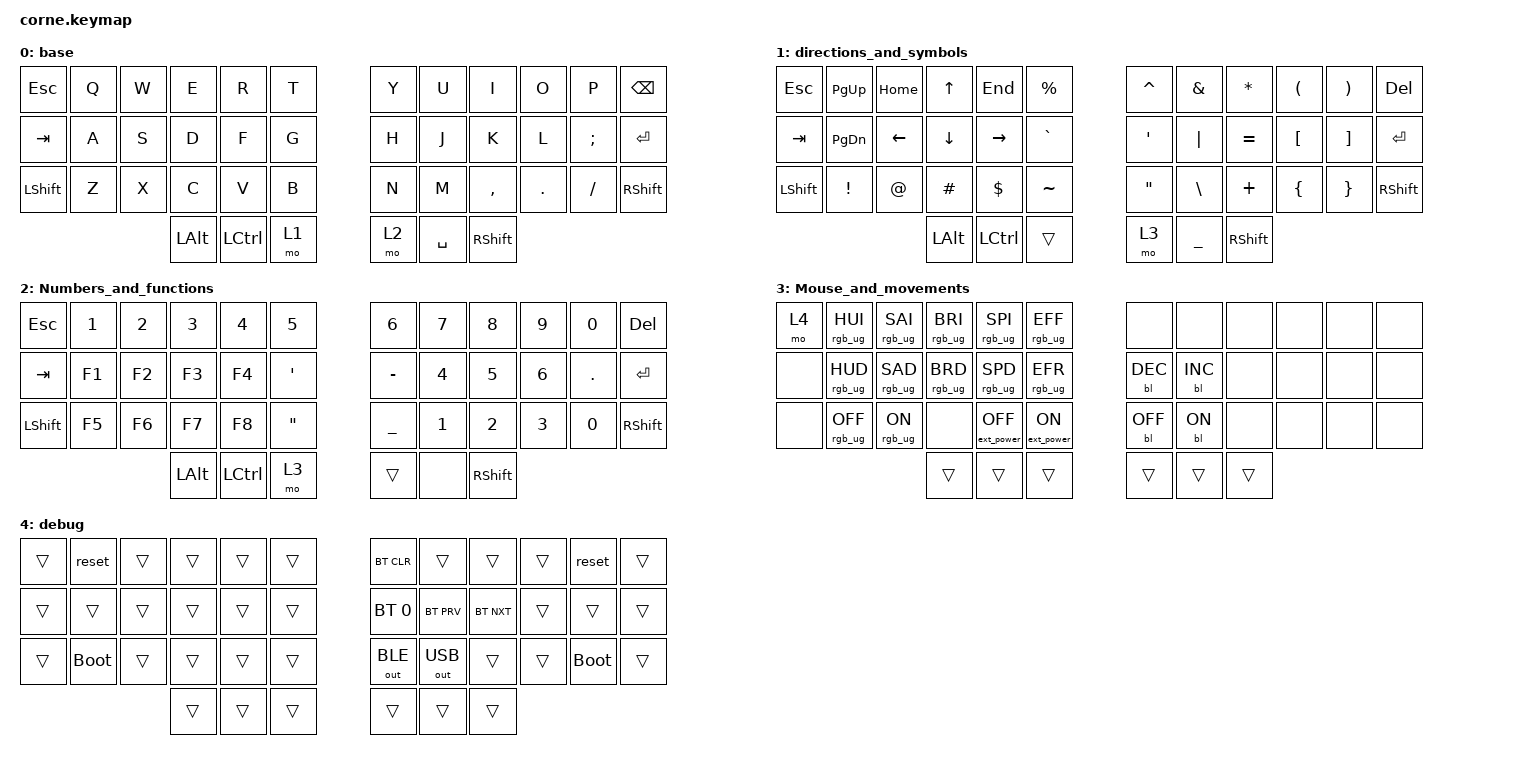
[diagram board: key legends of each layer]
/*
 * Copyright (c) 2020 The ZMK Contributors
 *
 * SPDX-License-Identifier: MIT
 */

#include <behaviors.dtsi>
#include <dt-bindings/zmk/keys.h>
#include <dt-bindings/zmk/rgb.h>
#include <dt-bindings/zmk/backlight.h>
#include <dt-bindings/zmk/ext_power.h>
#include <dt-bindings/zmk/bt.h>
#include <dt-bindings/zmk/outputs.h>

/ {
    behaviors {
        hm: homerow_mods {
            compatible = "zmk,behavior-hold-tap";
            label = "HOMEROW_MODS";
            #binding-cells = <2>;
            tapping-term-ms = <150>;
            quick-tap-ms = <0>;
            flavor = "tap-preferred";
            bindings =
                <&kp>,
                <&kp>;
        };
    };

    combos {
        compatible = "zmk,combos";

        tab {
            bindings = <&trans>;
            key-positions = <2 3>;
        };

        ctrl {
            bindings = <&kp LCTRL>;
            key-positions = <26 27>;
        };

        cmd {
            bindings = <&kp LCMD>;
            key-positions = <37 38>;
        };

        alt {
            bindings = <&kp LEFT_ALT>;
            key-positions = <39 40>;
        };

        shift {
            bindings = <&kp LSHIFT>;
            key-positions = <8 9>;
        };

        caps_word {
            bindings = <&caps_word>;
            key-positions = <17 18>;
        };

        delete {
            bindings = <&kp DEL>;
            key-positions = <32 33>;
        };
    };

    macros {
        zed_em_kay: zed_em_kay {
            compatible = "zmk,behavior-macro";
            label = "ZM_zed_em_kay";
            #binding-cells = <0>;
            bindings =
                <&macro_press>,
                <&kp LSHFT>,
                <&macro_tap>,
                <&kp Z &kp M &kp K>,
                <&macro_release>,
                <&kp LSHFT>;
        };
    };

    keymap {
        compatible = "zmk,keymap";

        base {
            bindings = <
   &kp ESC   &kp Q   &kp W         &kp E             &kp R   &kp T           &kp Y      &kp U            &kp I    &kp O          &kp P    &kp BACKSPACE
   &kp TAB   &kp A   &kp S         &kp D             &kp F   &kp G           &kp H      &kp J            &kp K    &kp L  &kp SEMICOLON        &kp ENTER
 &kp LSHFT   &kp Z   &kp X         &kp C             &kp V   &kp B           &kp N      &kp M        &kp COMMA  &kp DOT       &kp FSLH  &kp RIGHT_SHIFT
                            &kp LEFT_ALT  &kp LEFT_CONTROL   &mo 1           &mo 2  &kp SPACE  &kp RIGHT_SHIFT
            >;
        };

        directions_and_symbols {
            bindings = <
     &kp ESCAPE      &kp PAGE_UP        &kp HOME    &kp UP_ARROW           &kp END  &kp PERCENT                  &kp CARET   &kp AMPERSAND     &kp ASTERISK  &kp LEFT_PARENTHESIS  &kp RIGHT_PARENTHESIS       &kp DELETE
        &kp TAB    &kp PAGE_DOWN  &kp LEFT_ARROW  &kp DOWN_ARROW   &kp RIGHT_ARROW    &kp GRAVE           &kp SINGLE_QUOTE        &kp PIPE        &kp EQUAL      &kp LEFT_BRACKET      &kp RIGHT_BRACKET        &kp ENTER
 &kp LEFT_SHIFT  &kp EXCLAMATION     &kp AT_SIGN        &kp HASH        &kp DOLLAR    &kp TILDE          &kp DOUBLE_QUOTES   &kp BACKSLASH         &kp PLUS        &kp LEFT_BRACE        &kp RIGHT_BRACE  &kp RIGHT_SHIFT
                                                    &kp LEFT_ALT  &kp LEFT_CONTROL       &trans                      &mo 3  &kp UNDERSCORE  &kp RIGHT_SHIFT
            >;
        };

        Numbers_and_functions {
            bindings = <
        &kp ESC  &kp NUMBER_1  &kp NUMBER_2  &kp NUMBER_3      &kp NUMBER_4       &kp NUMBER_5          &kp NUMBER_6  &kp NUMBER_7     &kp NUMBER_8  &kp NUMBER_9  &kp NUMBER_0          &kp DEL
        &kp TAB        &kp F1        &kp F2        &kp F3            &kp F4   &kp SINGLE_QUOTE             &kp MINUS  &kp NUMBER_4     &kp NUMBER_5  &kp NUMBER_6       &kp DOT        &kp ENTER
 &kp LEFT_SHIFT        &kp F5        &kp F6        &kp F7            &kp F8  &kp DOUBLE_QUOTES             &kp UNDER  &kp NUMBER_1     &kp NUMBER_2  &kp NUMBER_3  &kp NUMBER_0  &kp RIGHT_SHIFT
                                             &kp LEFT_ALT  &kp LEFT_CONTROL              &mo 3                &trans         &none  &kp RIGHT_SHIFT
            >;
        };

        Mouse_and_movements {
            bindings = <
  &mo 4  &rgb_ug RGB_HUI  &rgb_ug RGB_SAI  &rgb_ug RGB_BRI    &rgb_ug RGB_SPI   &rgb_ug RGB_EFF               &none       &none   &none   &none   &none   &none
  &none  &rgb_ug RGB_HUD  &rgb_ug RGB_SAD  &rgb_ug RGB_BRD    &rgb_ug RGB_SPD   &rgb_ug RGB_EFR          &bl BL_DEC  &bl BL_INC   &none   &none   &none   &none
  &none  &rgb_ug RGB_OFF   &rgb_ug RGB_ON            &none  &ext_power EP_OFF  &ext_power EP_ON          &bl BL_OFF   &bl BL_ON   &none   &none   &none   &none
                                                    &trans             &trans            &trans              &trans      &trans  &trans
            >;
        };

        debug {
            bindings = <
 &trans       &reset  &trans  &trans  &trans  &trans            &bt BT_CLR        &trans      &trans  &trans       &reset  &trans
 &trans       &trans  &trans  &trans  &trans  &trans          &bt BT_SEL 0    &bt BT_PRV  &bt BT_NXT  &trans       &trans  &trans
 &trans  &bootloader  &trans  &trans  &trans  &trans          &out OUT_BLE  &out OUT_USB      &trans  &trans  &bootloader  &trans
                              &trans  &trans  &trans                &trans        &trans      &trans
            >;
        };
    };
};
